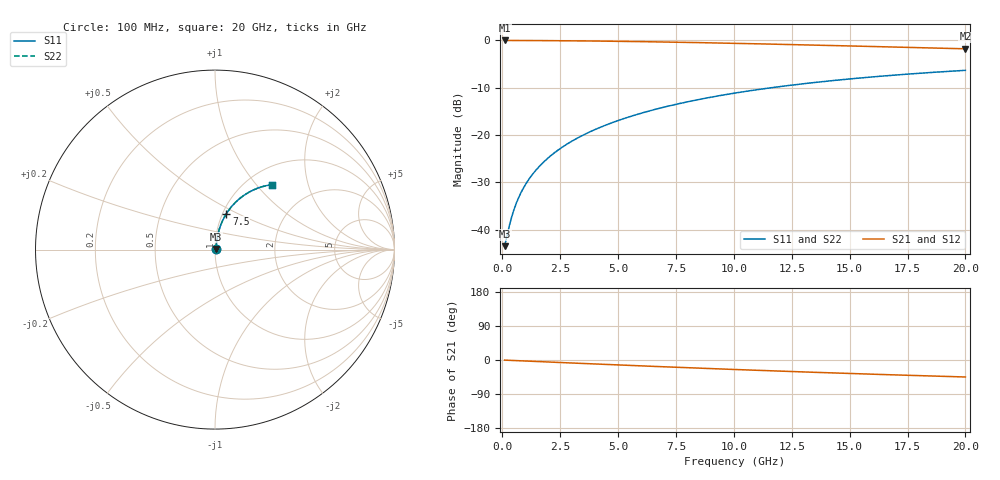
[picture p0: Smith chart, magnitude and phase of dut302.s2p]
! Touchstone file exported from HFSS 2024.1.0
!  File:  C:/UserFiles/LocalFiles/RDL_TSV_Batchsim/temp_RDL_top_302_1779606199.aedt
!  Generated:  03:05:59 PM May 24, 2026
!  Design:  RDL_top
!  Project:  temp_RDL_top_302_1779606199
!  Setup:  Setup1
!  Solution:  Sweep
! Variables:
!  dtsv = 10.80580581um
!  hbump = 3um
!  htsv = 98.82um
!  ldown = 100um
!  lrdl = 578.63um
!  p = 40
!  p1 = 48.7um
!  rhole = 1um
!  t = 450um
!  tdown = 3.915915916um
!  trdl = 2.54um
!  wdown = 15.38538539um
!  wrdl = 13.74um
# GHz S MA R 50.000000
! Terminal data exported
! Port[1] = Box2_T1
! Port[2] = Box2_T2
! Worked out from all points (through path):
!   200 points, 100 MHz to 20 GHz, reference 50 ohm
!   highest |S21| = -0.05 dB at 100 MHz (marker M1); lowest = -1.8 dB at 20 GHz (marker M2)
!   group delay of S21, straight-line fit = 6.24 ps
!   lowest |S11| = -43.5 dB at 100 MHz (marker M3), VSWR 1.01, Z = 50.6 + j0.303 ohm
!   |S11| at or under -10 dB: start of sweep to 11.67 GHz
!   |S22| runs from -43.5 to -6.4 dB; largest |S21 - S12| = 5.3e-15
!   S11 on the Smith chart (normalised r, x): 100 MHz: 1.01, +0.01; 7.5 GHz: 1.04, +0.44; 20 GHz: 1.29, +1.21
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0.1  0.006691 26.6  0.994 -0.3  0.994 -0.3  0.006691 26.6
! Gamma 0 0 0 0
! Port Impedance 50 0 50 0
0.3  0.01088 55.1  0.9938 -0.8  0.9938 -0.8  0.01088 55.1
0.4  0.01347 61.6  0.9936 -1.1  0.9936 -1.1  0.01347 61.6
0.5  0.01615 65.8  0.9934 -1.4  0.9934 -1.4  0.01615 65.8
0.6  0.01888 68.8  0.9932 -1.6  0.9932 -1.6  0.01888 68.8
0.7  0.02163 70.9  0.993 -1.9  0.993 -1.9  0.02163 70.9
0.9  0.02714 73.8  0.9926 -2.4  0.9926 -2.4  0.02714 73.8
1.2  0.03544 76.3  0.9919 -3.2  0.9919 -3.2  0.03544 76.3
1.4  0.041 77.3  0.9914 -3.7  0.9914 -3.7  0.04099 77.3
1.7  0.04935 78.3  0.9905 -4.5  0.9905 -4.5  0.04935 78.3
2.2  0.06333 79.0  0.9889 -5.8  0.9889 -5.8  0.06333 79.0
2.8  0.08017 79.1  0.9865 -7.4  0.9865 -7.4  0.08017 79.1
3.5  0.09984 78.7  0.9831 -9.2  0.9831 -9.2  0.09984 78.7
4.2  0.1195 77.9  0.979 -11.0  0.979 -11.0  0.1195 77.9
5  0.1418 76.8  0.9737 -13.0  0.9737 -13.0  0.1418 76.8
5.9  0.1668 75.3  0.9668 -15.3  0.9668 -15.3  0.1668 75.3
6.8  0.1915 73.7  0.9592 -17.5  0.9592 -17.5  0.1915 73.7
7.5  0.2104 72.4  0.9528 -19.2  0.9528 -19.2  0.2104 72.4
10.1  0.278 67.3  0.9263 -25.2  0.9263 -25.2  0.2779 67.3
13.4  0.3559 60.8  0.8888 -32.3  0.8888 -32.3  0.3558 60.8
16.7  0.4235 54.6  0.8497 -38.9  0.8497 -38.9  0.4235 54.5
20  0.4809 48.8  0.8113 -44.9  0.8113 -44.9  0.4808 48.8
